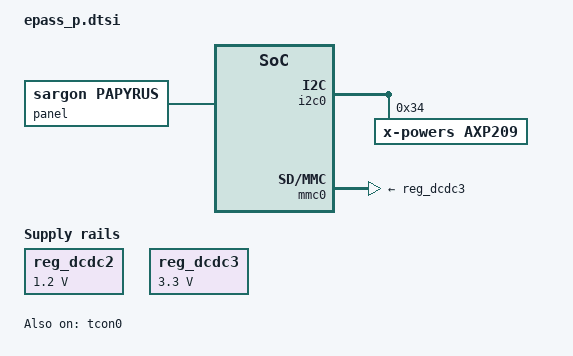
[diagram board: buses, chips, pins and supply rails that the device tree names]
// SPDX-License-Identifier: (GPL-2.0+ OR X11)

#include "epass_common.dtsi"

/ {
	chosen {
		// this bootargs will not work. change bootargs in uboot!
		bootargs = "i luv papyrus";
	};

	/* 720x1280 scanout */
	reserved-memory {
		#address-cells = <1>;
		#size-cells = <1>;
		ranges;

		linux,cma {
			compatible = "shared-dma-pool";
			reusable;
			size = <0x2000000>; /* 32 MiB */
			linux,cma-default;
		};
	};
};

&panel {
	compatible = "sargon,papyrus", "simple-panel";	// 720x1280 3.5 inch
};

&st7701initseq {
	srgn,mipi-bridge-mode;
};

&i2c0 {
	pinctrl-names = "default";
	pinctrl-0 = <&i2c0_pd_pins>;
	status = "okay";

	axp209: pmic@34 {
		compatible = "x-powers,axp209";
		reg = <0x34>;
		interrupt-controller;
		#interrupt-cells = <1>;

		/* PEK 是面板上的 "0" 键, 不是关机键 */
		x-powers,pek-keycode = <KEY_0>;
	};
};

#include "axp209.dtsi"

&battery_power_supply {
	status = "okay";

	x-powers,no-thermistor;
};

&ac_power_supply {
	status = "okay";
};

&usb_power_supply {
	status = "okay";
};

&reg_dcdc2 {
	regulator-min-microvolt = <1200000>;
	regulator-max-microvolt = <1200000>;
	regulator-always-on;
};

&reg_dcdc3 {
	regulator-min-microvolt = <3300000>;
	regulator-max-microvolt = <3300000>;
	regulator-always-on;
};

&mmc0 {
	vmmc-supply = <&reg_dcdc3>;
};

&tcon0 {
	pinctrl-names = "default";
	pinctrl-0 = <&lcd_rgb565_pins>;
	status = "okay";
};
